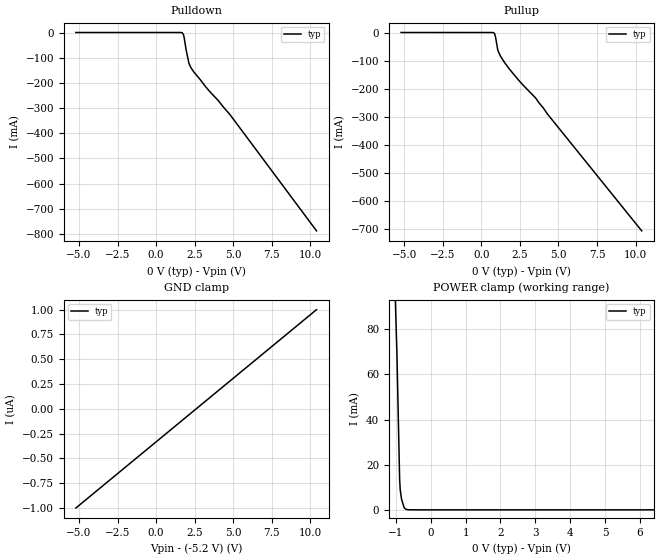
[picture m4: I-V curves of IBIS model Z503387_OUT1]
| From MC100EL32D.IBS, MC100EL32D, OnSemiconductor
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| (C) COPYRIGHT 1993-2000
| MENTOR GRAPHICS CORPORATION
| ICX STANDARD LIBRARY, ICX PROJECT MODELING,
| ICX CUSTOM MODELING, ICX VENDOR MODEL
| ALL RIGHTS RESERVED.
| THE FOLLOWING ARE TRADEMARKS OR SERVICE MARKS OF
| MENTOR GRAPHICS CORPORATION:ICX (R), ICX STANDARD
| LIBRARY(R), ICX PROJECT MODELING(R), ICX CUSTOM
| MODELING(R), qualityIBIS(TM), MODELVIEWER(TM),
| AND MODELEDITOR(TM)
| ALL COPIES OF SOFTWARE, INCLUDING BUT NOT LIMITED TO
| ANY MODIFICATIONS, ENHANCEMENTS OR DERIVATIVE WORKS,
| MUST CONTAIN ALL MENTOR GRAPHICS CORPORATION'S
| NOTICES AND LEGENDS, INCLUDING THOSE EMBEDDED IN
| SOFTWARE AND THOSE AFFIXED TO SOFTWARE MEDIUM
| AND CONTAINER, AS RECEIVED FROM MENTOR GRAPHICS
| CORPORATION.
| Model Application Version 1.89 2/18/99.
[Model] Z503387_OUT1
Model_type Output_ECL
Vref=-2.000V
Rref=50.00ohms
Cref=0.000F
Vmeas=-1.320V
C_comp 8.000pF NA NA
| variable typ   min   max
[Voltage Range] -5.200V NA NA
[POWER Clamp Reference] 0.000V NA NA
[Pullup Reference] 0.000V NA NA
[Pulldown Reference] 0.000V NA NA
[GND Clamp Reference] -5.200V NA NA
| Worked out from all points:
|   POWER clamp passes 1 mA (typ) near -0.76 V on its own axis
[GND Clamp]
-5.2V     -1uA       NA         NA
10.4V     1uA        NA         NA
[Pulldown]
-5.2V     56.97uA    NA         NA
1.703V    -1.446mA   NA         NA
1.777V    -8.817mA   NA         NA
1.822V    -20.69mA   NA         NA
1.948V    -69.23mA   NA         NA
2.129V    -122mA     NA         NA
2.25V     -138.7mA   NA         NA
2.431V    -155.3mA   NA         NA
3.203V    -214.5mA   NA         NA
4.008V    -268.5mA   NA         NA
4.783V    -325.3mA   NA         NA
10.4V     -787.3mA   NA         NA
[Pullup]
-5.2V     37.6uA     NA         NA
703.1mV   -11.65uA   NA         NA
844.5mV   -2.73mA    NA         NA
928.5mV   -17.08mA   NA         NA
1.059V    -59.2mA    NA         NA
1.094V    -66.17mA   NA         NA
1.25V     -84.64mA   NA         NA
1.802V    -128.7mA   NA         NA
2.416V    -169.4mA   NA         NA
3.525V    -233.2mA   NA         NA
4.298V    -290.8mA   NA         NA
10.4V     -706.2mA   NA         NA
[POWER Clamp]
-5.2V     1.404A     NA         NA
-1.075V   122.7mA    NA         NA
-972.3mV  68.83mA    NA         NA
-895.3mV  13.59mA    NA         NA
-878.6mV  8.986mA    NA         NA
-842.5mV  4.889mA    NA         NA
-769.5mV  1.116mA    NA         NA
-706.8mV  184.8uA    NA         NA
10.4V     0A         NA         NA
[Ramp]
| variable typ min max
dV/dt_r 479.6m/428.6p NA NA
dV/dt_f 479.6m/446.7p NA NA
R_load = 50.00Ohms
